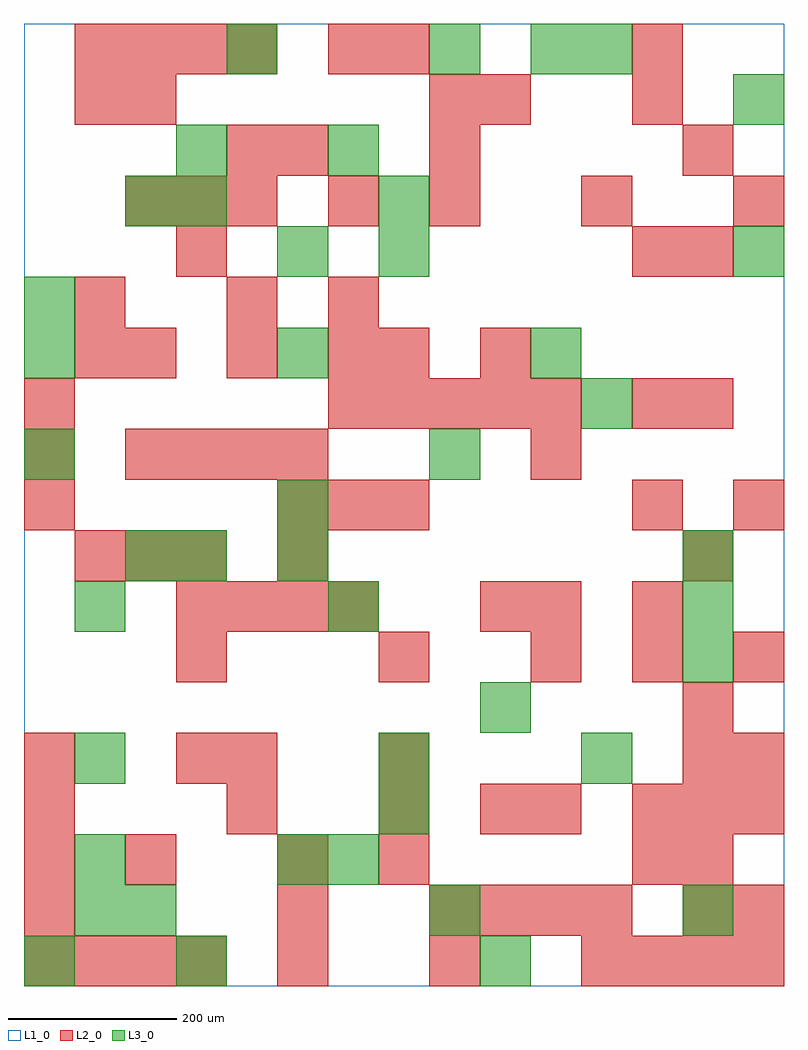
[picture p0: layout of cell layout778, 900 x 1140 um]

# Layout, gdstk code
import gdstk
lib = gdstk.Library(unit=1e-6, precision=1e-09)
def R(c, l, rs):  # rectangles x0, y0, x1, y1
    for r in rs: c.add(gdstk.rectangle(r[:2], r[2:], *l))
def A(c, l, x, y, w, h, nx, ny, dx, dy):  # array of equal rectangles
    R(c, l, [(x+i*dx, y+j*dy, x+i*dx+w, y+j*dy+h) for i in range(nx) for j in range(ny)])
L1_0 = (1, 0)
L2_0 = (2, 0)
L3_0 = (3, 0)

layout778 = lib.new_cell('layout778')
R(layout778, L1_0, [(0,0,900,1140)])
A(layout778, L2_0, 0, 0, 60, 60, 4, 1, 60, 0)
A(layout778, L2_0, 300, 0, 60, 60, 3, 1, 180, 0)
A(layout778, L2_0, 720, 0, 60, 60, 3, 2, 60, 180)
A(layout778, L2_0, 0, 60, 60, 60, 1, 4, 0, 60)
A(layout778, L2_0, 480, 60, 60, 60, 4, 1, 60, 0)
A(layout778, L2_0, 420, 120, 60, 60, 1, 3, 0, 60)
A(layout778, L2_0, 780, 300, 60, 60, 1, 4, 0, 180)
A(layout778, L2_0, 420, 360, 60, 60, 1, 3, 0, 360)
A(layout778, L2_0, 600, 360, 60, 60, 3, 1, 120, 0)
A(layout778, L2_0, 180, 420, 60, 60, 4, 1, 60, 0)
A(layout778, L2_0, 540, 420, 60, 60, 1, 3, 0, 300)
A(layout778, L2_0, 720, 420, 60, 60, 1, 3, 0, 120)
A(layout778, L2_0, 60, 480, 60, 60, 3, 1, 60, 0)
A(layout778, L2_0, 0, 540, 60, 60, 1, 3, 0, 60)
A(layout778, L2_0, 300, 540, 60, 60, 3, 1, 60, 0)
A(layout778, L2_0, 120, 600, 60, 60, 4, 1, 60, 0)
A(layout778, L2_0, 360, 660, 60, 60, 5, 1, 60, 0)
A(layout778, L2_0, 120, 720, 60, 60, 3, 1, 120, 0)
A(layout778, L2_0, 120, 900, 60, 60, 3, 1, 60, 0)
A(layout778, L2_0, 480, 900, 60, 60, 3, 1, 180, 0)
A(layout778, L2_0, 60, 1080, 60, 60, 4, 1, 60, 0)
R(layout778, L2_0, [(300,60,360,120), (780,60,840,120), (840,60,900,120), (120,120,180,180), (300,120,360,180), (720,120,780,180), (780,120,840,180), (240,180,300,240), (540,180,600,240), (600,180,660,240), (180,240,240,300), (240,240,300,300), (780,240,840,300), (840,240,900,300), (180,360,240,420), (600,420,660,480), (300,480,360,540), (840,540,900,600), (600,600,660,660), (60,720,120,780), (60,780,120,840), (240,780,300,840), (360,780,420,840), (180,840,240,900), (720,840,780,900), (360,900,420,960), (240,960,300,1020), (300,960,360,1020), (480,960,540,1020), (780,960,840,1020), (60,1020,120,1080), (120,1020,180,1080), (480,1020,540,1080), (720,1020,780,1080), (360,1080,420,1140), (720,1080,780,1140)])
A(layout778, L3_0, 120, 60, 60, 60, 1, 3, 0, 420)
A(layout778, L3_0, 660, 240, 60, 60, 1, 3, 0, 420)
A(layout778, L3_0, 780, 360, 60, 60, 1, 3, 0, 60)
A(layout778, L3_0, 0, 720, 60, 60, 3, 1, 300, 0)
R(layout778, L3_0, [(0,0,60,60), (180,0,240,60), (540,0,600,60), (60,60,120,120), (480,60,540,120), (780,60,840,120), (60,120,120,180), (300,120,360,180), (360,120,420,180), (420,180,480,240), (60,240,120,300), (420,240,480,300), (540,300,600,360), (60,420,120,480), (360,420,420,480), (180,480,240,540), (300,480,360,540), (300,540,360,600), (0,600,60,660), (480,600,540,660), (0,780,60,840), (300,840,360,900), (420,840,480,900), (840,840,900,900), (180,900,240,960), (420,900,480,960), (180,960,240,1020), (360,960,420,1020), (840,1020,900,1080), (240,1080,300,1140), (480,1080,540,1140), (600,1080,660,1140)])

lib.write_gds('layout778.gds')
